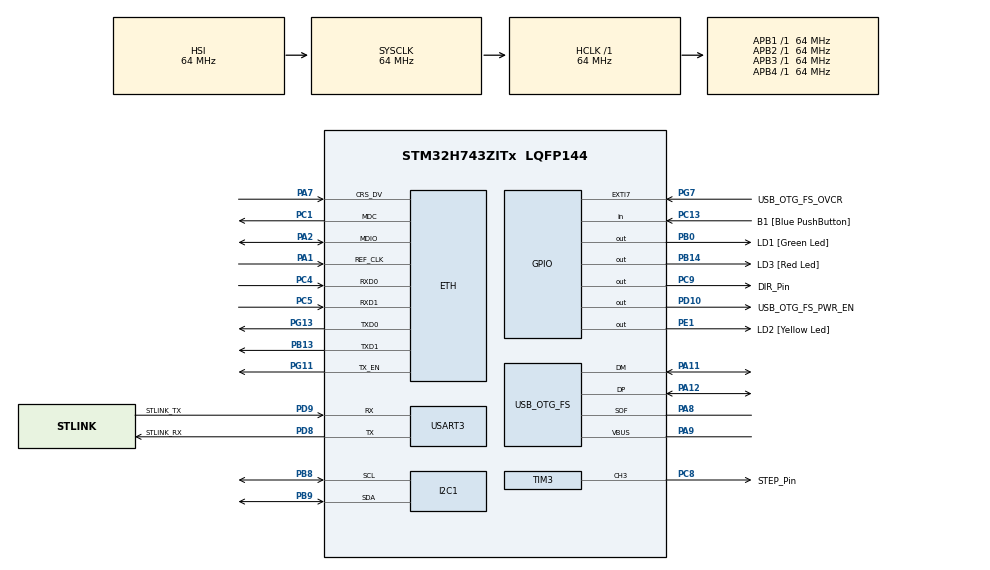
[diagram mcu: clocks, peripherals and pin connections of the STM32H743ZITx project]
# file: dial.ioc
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Mcu.Family=STM32H7
RCC.CortexFreq_Value=64000000
PH0-OSC_IN\ (PH0).Signal=RCC_OSC_IN
PB14.GPIO_Label=LD3 [Red Led]
PC15-OSC32_OUT\ (OSC32_OUT).Mode=LSE-External-Oscillator
RCC.PLLFRACN=0
PA11.Mode=Device_Only
PB0.GPIO_Label=LD1 [Green Led]
PC5.Mode=RMII
PC13.GPIO_Label=B1 [Blue PushButton]
PB13.Signal=ETH_TXD1
PG13.Signal=ETH_TXD0
PD9.Mode=Asynchronous
PG11.Signal=ETH_TX_EN
ProjectManager.StackSize=0x400
USART3.VirtualMode-Asynchronous=VM_ASYNC
PA12.Signal=USB_OTG_FS_DP
RCC.HCLKFreq_Value=64000000
TIM3.Period=468
TIM3.OCMode_PWM-PWM\ Generation3\ CH3=TIM_OCMODE_PWM1
PD8.Signal=USART3_TX
PE1.Signal=GPIO_Output
TIM3.Pulse-PWM\ Generation3\ CH3=40
RCC.HSE_VALUE=8000000
RCC.DIVM1=1
TIM3.Prescaler=63
PA8.Signal=USB_OTG_FS_SOF
PG13.Mode=RMII
RCC.APB3Freq_Value=64000000
TIM3.OCPolarity_3=TIM_OCPOLARITY_HIGH
PB9.Signal=I2C1_SDA
Mcu.Package=LQFP144
PB9.GPIO_PuPd=GPIO_PULLUP
USB_OTG_FS.VirtualMode=Device_Only
PC14-OSC32_IN\ (OSC32_IN).Mode=LSE-External-Oscillator
RCC.APB4Freq_Value=64000000
PC5.Signal=ETH_RXD1
PB13.Mode=RMII
PH0-OSC_IN\ (PH0).Mode=HSE-External-Clock-Source
VP_TIM3_VS_ClockSourceINT.Mode=Internal
PC4.Mode=RMII
RCC.DIVQ1=4
TIM3.CounterMode=TIM_COUNTERMODE_DOWN
PA7.Mode=RMII
PG7.Signal=GPXTI7
PD9.GPIO_Label=STLINK_TX
PC9.GPIO_Label=DIR_Pin
PC13.Signal=GPIO_Input
PC8.Signal=S_TIM3_CH3
PB8.GPIO_PuPd=GPIO_PULLUP
PC4.Signal=ETH_RXD0
PD9.Signal=USART3_RX
SH.S_TIM3_CH3.0=TIM3_CH3,PWM Generation3 CH3
RCC.PWR_Regulator_Voltage_Scale=PWR_REGULATOR_VOLTAGE_SCALE2
PH1-OSC_OUT\ (PH1).Signal=RCC_OSC_OUT
PD8.GPIO_Label=STLINK_RX
PD10.Signal=GPIO_Output
PC8.GPIO_Label=STEP_Pin
TIM3.Channel-PWM\ Generation3\ CH3=TIM_CHANNEL_3
PA9.Mode=Activate_VBUS
ProjectManager.TargetToolchain=STM32CubeIDE
PC15-OSC32_OUT\ (OSC32_OUT).Signal=RCC_OSC32_OUT
PB9.Mode=I2C
PA9.Signal=USB_OTG_FS_VBUS
RCC.DIVN1=24
RCC.USBFreq_Value=48000000
PD10.GPIO_Label=USB_OTG_FS_PWR_EN
PD8.Mode=Asynchronous
PA1.Signal=ETH_REF_CLK
PB14.Signal=GPIO_Output
board=NUCLEO-H743ZI2
PE1.GPIO_Label=LD2 [Yellow Led]
NVIC.TIM3_IRQn=true\:0\:0\:false\:false\:true\:true\:true
RCC.APB2Freq_Value=64000000
PA1.Mode=RMII
PG7.GPIO_Label=USB_OTG_FS_OVCR
RCC.ADCFreq_Value=16125000
Mcu.Name=STM32H743ZITx
PA2.Signal=ETH_MDIO
RCC.SYSCLKFreq_VALUE=64000000
ETH.MediaInterface=HAL_ETH_RMII_MODE
PA12.Mode=Device_Only
PC14-OSC32_IN\ (OSC32_IN).Signal=RCC_OSC32_IN
PG11.Mode=RMII
PA11.Signal=USB_OTG_FS_DM
ProjectManager.HeapSize=0x200
NVIC.PriorityGroup=NVIC_PRIORITYGROUP_4
PB8.Mode=I2C
PA2.Mode=RMII
PB8.Signal=I2C1_SCL
PA8.Mode=Activate_SOF_FS
PC9.Signal=GPIO_Output
TIM3.TIM_MasterOutputTrigger=TIM_TRGO_UPDATE
RCC.APB1Freq_Value=64000000
PB0.Signal=GPIO_Output
PC1.Signal=ETH_MDC
PC1.Mode=RMII
PA7.Signal=ETH_CRS_DV

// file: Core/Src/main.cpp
/* USER CODE BEGIN Header */
/**
 ******************************************************************************
 * @file           : main.c
 * @brief          : Main program body
 ******************************************************************************
 * @attention
 *
 * <h2><center>&copy; Copyright (c) 2021 STMicroelectronics.
 * All rights reserved.</center></h2>
 *
 * This software component is licensed by ST under BSD 3-Clause license,
 * the "License"; You may not use this file except in compliance with the
 * License. You may obtain a copy of the License at:
 *                        opensource.org/licenses/BSD-3-Clause
 *
 ******************************************************************************
 */

/* USER CODE END Header */
#include "main.h"
#include "string.h"

/* USER CODE BEGIN Includes */
#include "Stepper.h"
#include "my_definitions.h"
#include "Dial.h"
#include "Encoder.h"
#include <cstdio>
/* USER CODE END Includes */

/* USER CODE BEGIN PD */
#define DEBUG 1
/* USER CODE END PD */

#if defined ( __ICCARM__ ) /*!< IAR Compiler */

#pragma location=0x30040000
ETH_DMADescTypeDef  DMARxDscrTab[ETH_RX_DESC_CNT]; /* Ethernet Rx DMA Descriptors */
#pragma location=0x30040060
ETH_DMADescTypeDef  DMATxDscrTab[ETH_TX_DESC_CNT]; /* Ethernet Tx DMA Descriptors */
#pragma location=0x30040200
uint8_t Rx_Buff[ETH_RX_DESC_CNT][ETH_MAX_PACKET_SIZE]; /* Ethernet Receive Buffers */

#elif defined ( __CC_ARM )  /* MDK ARM Compiler */

__attribute__((at(0x30040000))) ETH_DMADescTypeDef  DMARxDscrTab[ETH_RX_DESC_CNT]; /* Ethernet Rx DMA Descriptors */
__attribute__((at(0x30040060))) ETH_DMADescTypeDef  DMATxDscrTab[ETH_TX_DESC_CNT]; /* Ethernet Tx DMA Descriptors */
__attribute__((at(0x30040200))) uint8_t Rx_Buff[ETH_RX_DESC_CNT][ETH_MAX_PACKET_SIZE]; /* Ethernet Receive Buffer */

#elif defined ( __GNUC__ ) /* GNU Compiler */

ETH_DMADescTypeDef DMARxDscrTab[ETH_RX_DESC_CNT] __attribute__((section(".RxDecripSection"))); /* Ethernet Rx DMA Descriptors */
ETH_DMADescTypeDef DMATxDscrTab[ETH_TX_DESC_CNT] __attribute__((section(".TxDecripSection"))); /* Ethernet Tx DMA Descriptors */
uint8_t Rx_Buff[ETH_RX_DESC_CNT][ETH_MAX_PACKET_SIZE] __attribute__((section(".RxArraySection"))); /* Ethernet Receive Buffers */

#endif

ETH_TxPacketConfig TxConfig;

ETH_HandleTypeDef heth;

I2C_HandleTypeDef hi2c1;

TIM_HandleTypeDef htim3;

UART_HandleTypeDef huart3;

PCD_HandleTypeDef hpcd_USB_OTG_FS;

void SystemClock_Config(void);
static void MX_GPIO_Init(void);
static void MX_ETH_Init(void);
static void MX_USART3_UART_Init(void);
static void MX_USB_OTG_FS_PCD_Init(void);
static void MX_TIM3_Init(void);
static void MX_I2C1_Init(void);
/* USER CODE BEGIN PFP */
void Move_Stepper(enum Direction dir, int full_turns, int next_number);
void Stop_TIM3(TIM_TypeDef *TIMx);
void Start_TIM3(TIM_TypeDef *TIMx);

/* USER CODE END PFP */

/* USER CODE BEGIN 0 */

std::StepperMotor *Stepper = new std::StepperMotor(TIM3);
std::Dial *Dial = new std::Dial();
std::Encoder *Encoder;

// Character buffers
char msg[100] = { 0 };

/* USER CODE END 0 */

int main(void) {

   /* MCU Configuration--------------------------------------------------------*/

   /* Reset of all peripherals, Initializes the Flash interface and the Systick. */
   HAL_Init();

   /* Configure the system clock */
   SystemClock_Config();

   /* Initialize all configured peripherals */
   MX_GPIO_Init();
   MX_ETH_Init();
   MX_USART3_UART_Init();
   MX_USB_OTG_FS_PCD_Init();
   MX_TIM3_Init();
   MX_I2C1_Init();
   /* USER CODE BEGIN 2 */

   // Timer3 startup
   HAL_TIM_PWM_Start_IT(&htim3, TIM_CHANNEL_3);
   TIM3->CR1 &= ~(TIM_CR1_CEN); // Disable counter

   // Stepper
   int newnum = 90; // Next number to spin the dial to
   enum Direction dir = CW; // Direction of dial rotation.

   // Encoder
   Encoder = new std::Encoder(&hi2c1, AS5600_HYSTERESIS_1LSB);

#if DEBUG ==1
   uint8_t start_message[] = "\r\n\r\n..... Running .....\r\n";
   HAL_UART_Transmit(&huart3, start_message, sizeof(start_message), 10);
#endif

   /* USER CODE END 2 */

   /* Infinite loop */
   /* USER CODE BEGIN WHILE */

   while (1) {

// -------------------------------------------------------------------

// -------------------------------------------------------------------

      // Routine to demo stepper control
      Move_Stepper(dir, 0, newnum);

      if (newnum > 0) {
         newnum -= 10;
      } else {
         newnum = 90;
         if (dir == CCW) {
            dir = CW;
         } else
            (dir = CCW);
      }

      /* USER CODE END WHILE */

      /* USER CODE BEGIN 3 */
   } // End main loop

   /* USER CODE END 3 */
}

void SystemClock_Config(void) {
   RCC_OscInitTypeDef RCC_OscInitStruct = { 0 };
   RCC_ClkInitTypeDef RCC_ClkInitStruct = { 0 };

   /** Supply configuration update enable
    */
   HAL_PWREx_ConfigSupply(PWR_LDO_SUPPLY);
   /** Configure the main internal regulator output voltage
    */
   __HAL_PWR_VOLTAGESCALING_CONFIG(PWR_REGULATOR_VOLTAGE_SCALE2);

   while (!__HAL_PWR_GET_FLAG(PWR_FLAG_VOSRDY)) {
   }
   /** Initializes the RCC Oscillators according to the specified parameters
    * in the RCC_OscInitTypeDef structure.
    */
   RCC_OscInitStruct.OscillatorType = RCC_OSCILLATORTYPE_HSI
         | RCC_OSCILLATORTYPE_HSE;
   RCC_OscInitStruct.HSEState = RCC_HSE_BYPASS;
   RCC_OscInitStruct.HSIState = RCC_HSI_DIV1;
   RCC_OscInitStruct.HSICalibrationValue = RCC_HSICALIBRATION_DEFAULT;
   RCC_OscInitStruct.PLL.PLLState = RCC_PLL_ON;
   RCC_OscInitStruct.PLL.PLLSource = RCC_PLLSOURCE_HSE;
   RCC_OscInitStruct.PLL.PLLM = 1;
   RCC_OscInitStruct.PLL.PLLN = 24;
   RCC_OscInitStruct.PLL.PLLP = 2;
   RCC_OscInitStruct.PLL.PLLQ = 4;
   RCC_OscInitStruct.PLL.PLLR = 2;
   RCC_OscInitStruct.PLL.PLLRGE = RCC_PLL1VCIRANGE_3;
   RCC_OscInitStruct.PLL.PLLVCOSEL = RCC_PLL1VCOWIDE;
   RCC_OscInitStruct.PLL.PLLFRACN = 0;
   if (HAL_RCC_OscConfig(&RCC_OscInitStruct) != HAL_OK) {
      Error_Handler();
   }
   /** Initializes the CPU, AHB and APB buses clocks
    */
   RCC_ClkInitStruct.ClockType = RCC_CLOCKTYPE_HCLK | RCC_CLOCKTYPE_SYSCLK
         | RCC_CLOCKTYPE_PCLK1 | RCC_CLOCKTYPE_PCLK2 | RCC_CLOCKTYPE_D3PCLK1
         | RCC_CLOCKTYPE_D1PCLK1;
   RCC_ClkInitStruct.SYSCLKSource = RCC_SYSCLKSOURCE_HSI;
   RCC_ClkInitStruct.SYSCLKDivider = RCC_SYSCLK_DIV1;
   RCC_ClkInitStruct.AHBCLKDivider = RCC_HCLK_DIV1;
   RCC_ClkInitStruct.APB3CLKDivider = RCC_APB3_DIV1;
   RCC_ClkInitStruct.APB1CLKDivider = RCC_APB1_DIV1;
   RCC_ClkInitStruct.APB2CLKDivider = RCC_APB2_DIV1;
   RCC_ClkInitStruct.APB4CLKDivider = RCC_APB4_DIV1;

   if (HAL_RCC_ClockConfig(&RCC_ClkInitStruct, FLASH_LATENCY_1) != HAL_OK) {
      Error_Handler();
   }
}

static void MX_ETH_Init(void) {

   heth.Instance = ETH;
   heth.Init.MACAddr[0] = 0x00;
   heth.Init.MACAddr[1] = 0x80;
   heth.Init.MACAddr[2] = 0xE1;
   heth.Init.MACAddr[3] = 0x00;
   heth.Init.MACAddr[4] = 0x00;
   heth.Init.MACAddr[5] = 0x00;
   heth.Init.MediaInterface = HAL_ETH_RMII_MODE;
   heth.Init.TxDesc = DMATxDscrTab;
   heth.Init.RxDesc = DMARxDscrTab;
   heth.Init.RxBuffLen = 1524;

   if (HAL_ETH_Init(&heth) != HAL_OK) {
      Error_Handler();
   }

   memset(&TxConfig, 0, sizeof(ETH_TxPacketConfig));
   TxConfig.Attributes = ETH_TX_PACKETS_FEATURES_CSUM
         | ETH_TX_PACKETS_FEATURES_CRCPAD;
   TxConfig.ChecksumCtrl = ETH_CHECKSUM_IPHDR_PAYLOAD_INSERT_PHDR_CALC;
   TxConfig.CRCPadCtrl = ETH_CRC_PAD_INSERT;

}

static void MX_I2C1_Init(void) {

   hi2c1.Instance = I2C1;
   hi2c1.Init.Timing = 0x10707DBC;
   hi2c1.Init.OwnAddress1 = 0;
   hi2c1.Init.AddressingMode = I2C_ADDRESSINGMODE_7BIT;
   hi2c1.Init.DualAddressMode = I2C_DUALADDRESS_DISABLE;
   hi2c1.Init.OwnAddress2 = 0;
   hi2c1.Init.OwnAddress2Masks = I2C_OA2_NOMASK;
   hi2c1.Init.GeneralCallMode = I2C_GENERALCALL_DISABLE;
   hi2c1.Init.NoStretchMode = I2C_NOSTRETCH_DISABLE;
   if (HAL_I2C_Init(&hi2c1) != HAL_OK) {
      Error_Handler();
   }
   /** Configure Analogue filter
    */
   if (HAL_I2CEx_ConfigAnalogFilter(&hi2c1, I2C_ANALOGFILTER_ENABLE)
         != HAL_OK) {
      Error_Handler();
   }
   /** Configure Digital filter
    */
   if (HAL_I2CEx_ConfigDigitalFilter(&hi2c1, 0) != HAL_OK) {
      Error_Handler();
   }

}

static void MX_TIM3_Init(void) {

   TIM_ClockConfigTypeDef sClockSourceConfig = { 0 };
   TIM_MasterConfigTypeDef sMasterConfig = { 0 };
   TIM_OC_InitTypeDef sConfigOC = { 0 };

   /* USER CODE BEGIN TIM3_Init 1 */

// htim3.Init.Period = PWM_PERIOD_US;

   /* USER CODE END TIM3_Init 1 */
   htim3.Instance = TIM3;
   htim3.Init.Prescaler = 63;
   htim3.Init.CounterMode = TIM_COUNTERMODE_DOWN;
   htim3.Init.Period = PWM_PERIOD_US;
   htim3.Init.ClockDivision = TIM_CLOCKDIVISION_DIV1;
   htim3.Init.AutoReloadPreload = TIM_AUTORELOAD_PRELOAD_DISABLE;
   if (HAL_TIM_Base_Init(&htim3) != HAL_OK) {
      Error_Handler();
   }
   sClockSourceConfig.ClockSource = TIM_CLOCKSOURCE_INTERNAL;
   if (HAL_TIM_ConfigClockSource(&htim3, &sClockSourceConfig) != HAL_OK) {
      Error_Handler();
   }
   if (HAL_TIM_PWM_Init(&htim3) != HAL_OK) {
      Error_Handler();
   }
   sMasterConfig.MasterOutputTrigger = TIM_TRGO_UPDATE;
   sMasterConfig.MasterSlaveMode = TIM_MASTERSLAVEMODE_DISABLE;
   if (HAL_TIMEx_MasterConfigSynchronization(&htim3, &sMasterConfig)
         != HAL_OK) {
      Error_Handler();
   }
   sConfigOC.OCMode = TIM_OCMODE_PWM1;
   sConfigOC.Pulse = 40;
   sConfigOC.OCPolarity = TIM_OCPOLARITY_HIGH;
   sConfigOC.OCFastMode = TIM_OCFAST_DISABLE;
   if (HAL_TIM_PWM_ConfigChannel(&htim3, &sConfigOC, TIM_CHANNEL_3) != HAL_OK) {
      Error_Handler();
   }
   HAL_TIM_MspPostInit(&htim3);

}

static void MX_USART3_UART_Init(void) {

   huart3.Instance = USART3;
   huart3.Init.BaudRate = 115200;
   huart3.Init.WordLength = UART_WORDLENGTH_8B;
   huart3.Init.StopBits = UART_STOPBITS_1;
   huart3.Init.Parity = UART_PARITY_NONE;
   huart3.Init.Mode = UART_MODE_TX_RX;
   huart3.Init.HwFlowCtl = UART_HWCONTROL_NONE;
   huart3.Init.OverSampling = UART_OVERSAMPLING_16;
   huart3.Init.OneBitSampling = UART_ONE_BIT_SAMPLE_DISABLE;
   huart3.Init.ClockPrescaler = UART_PRESCALER_DIV1;
   huart3.AdvancedInit.AdvFeatureInit = UART_ADVFEATURE_NO_INIT;
   if (HAL_UART_Init(&huart3) != HAL_OK) {
      Error_Handler();
   }
   if (HAL_UARTEx_SetTxFifoThreshold(&huart3, UART_TXFIFO_THRESHOLD_1_8)
         != HAL_OK) {
      Error_Handler();
   }
   if (HAL_UARTEx_SetRxFifoThreshold(&huart3, UART_RXFIFO_THRESHOLD_1_8)
         != HAL_OK) {
      Error_Handler();
   }
   if (HAL_UARTEx_DisableFifoMode(&huart3) != HAL_OK) {
      Error_Handler();
   }

}

static void MX_USB_OTG_FS_PCD_Init(void) {

   hpcd_USB_OTG_FS.Instance = USB_OTG_FS;
   hpcd_USB_OTG_FS.Init.dev_endpoints = 9;
   hpcd_USB_OTG_FS.Init.speed = PCD_SPEED_FULL;
   hpcd_USB_OTG_FS.Init.dma_enable = DISABLE;
   hpcd_USB_OTG_FS.Init.phy_itface = PCD_PHY_EMBEDDED;
   hpcd_USB_OTG_FS.Init.Sof_enable = ENABLE;
   hpcd_USB_OTG_FS.Init.low_power_enable = DISABLE;
   hpcd_USB_OTG_FS.Init.lpm_enable = DISABLE;
   hpcd_USB_OTG_FS.Init.battery_charging_enable = ENABLE;
   hpcd_USB_OTG_FS.Init.vbus_sensing_enable = ENABLE;
   hpcd_USB_OTG_FS.Init.use_dedicated_ep1 = DISABLE;
   if (HAL_PCD_Init(&hpcd_USB_OTG_FS) != HAL_OK) {
      Error_Handler();
   }

}

static void MX_GPIO_Init(void) {
   GPIO_InitTypeDef GPIO_InitStruct = { 0 };

   /* GPIO Ports Clock Enable */
   __HAL_RCC_GPIOC_CLK_ENABLE();
   __HAL_RCC_GPIOH_CLK_ENABLE();
   __HAL_RCC_GPIOA_CLK_ENABLE();
   __HAL_RCC_GPIOB_CLK_ENABLE();
   __HAL_RCC_GPIOD_CLK_ENABLE();
   __HAL_RCC_GPIOG_CLK_ENABLE();
   __HAL_RCC_GPIOE_CLK_ENABLE();

   /*Configure GPIO pin Output Level */
   HAL_GPIO_WritePin(GPIOB, LD1_Pin | LD3_Pin, GPIO_PIN_RESET);

   /*Configure GPIO pin Output Level */
   HAL_GPIO_WritePin(USB_OTG_FS_PWR_EN_GPIO_Port, USB_OTG_FS_PWR_EN_Pin,
         GPIO_PIN_RESET);

   /*Configure GPIO pin Output Level */
   HAL_GPIO_WritePin(DIR_Pin_GPIO_Port, DIR_Pin_Pin, GPIO_PIN_RESET);

   /*Configure GPIO pin Output Level */
   HAL_GPIO_WritePin(LD2_GPIO_Port, LD2_Pin, GPIO_PIN_RESET);

   /*Configure GPIO pin : B1_Pin */
   GPIO_InitStruct.Pin = B1_Pin;
   GPIO_InitStruct.Mode = GPIO_MODE_INPUT;
   GPIO_InitStruct.Pull = GPIO_NOPULL;
   HAL_GPIO_Init(B1_GPIO_Port, &GPIO_InitStruct);

   /*Configure GPIO pins : LD1_Pin LD3_Pin */
   GPIO_InitStruct.Pin = LD1_Pin | LD3_Pin;
   GPIO_InitStruct.Mode = GPIO_MODE_OUTPUT_PP;
   GPIO_InitStruct.Pull = GPIO_NOPULL;
   GPIO_InitStruct.Speed = GPIO_SPEED_FREQ_LOW;
   HAL_GPIO_Init(GPIOB, &GPIO_InitStruct);

   /*Configure GPIO pin : USB_OTG_FS_PWR_EN_Pin */
   GPIO_InitStruct.Pin = USB_OTG_FS_PWR_EN_Pin;
   GPIO_InitStruct.Mode = GPIO_MODE_OUTPUT_PP;
   GPIO_InitStruct.Pull = GPIO_NOPULL;
   GPIO_InitStruct.Speed = GPIO_SPEED_FREQ_LOW;
   HAL_GPIO_Init(USB_OTG_FS_PWR_EN_GPIO_Port, &GPIO_InitStruct);

   /*Configure GPIO pin : USB_OTG_FS_OVCR_Pin */
   GPIO_InitStruct.Pin = USB_OTG_FS_OVCR_Pin;
   GPIO_InitStruct.Mode = GPIO_MODE_IT_RISING;
   GPIO_InitStruct.Pull = GPIO_NOPULL;
   HAL_GPIO_Init(USB_OTG_FS_OVCR_GPIO_Port, &GPIO_InitStruct);

   /*Configure GPIO pin : DIR_Pin_Pin */
   GPIO_InitStruct.Pin = DIR_Pin_Pin;
   GPIO_InitStruct.Mode = GPIO_MODE_OUTPUT_PP;
   GPIO_InitStruct.Pull = GPIO_NOPULL;
   GPIO_InitStruct.Speed = GPIO_SPEED_FREQ_LOW;
   HAL_GPIO_Init(DIR_Pin_GPIO_Port, &GPIO_InitStruct);

   /*Configure GPIO pin : LD2_Pin */
   GPIO_InitStruct.Pin = LD2_Pin;
   GPIO_InitStruct.Mode = GPIO_MODE_OUTPUT_PP;
   GPIO_InitStruct.Pull = GPIO_NOPULL;
   GPIO_InitStruct.Speed = GPIO_SPEED_FREQ_LOW;
   HAL_GPIO_Init(LD2_GPIO_Port, &GPIO_InitStruct);

}

/* USER CODE BEGIN 4 */

void Stop_Timer(TIM_TypeDef *TIMx) {
   TIMx->CR1 &= ~(TIM_CR1_CEN);
}
void Start_Timer(TIM_TypeDef *TIMx) {
   TIMx->CR1 |= TIM_CR1_CEN;
}
void HAL_TIM_PWM_PulseFinishedCallback(TIM_HandleTypeDef *htim) {
   // Interrupt service routine for TIMER3
   // Counts pulses until the desired number have been sent
   // Then it disables the timer to end the output.

   // !! Only works now because TIM3 is the only PWM timer.
   // !! The complete solution is to check TIM status bits to see
   // !! who issued the interrupt.

   Stop_Timer(TIM3); // Freeze counter at zero

   Stepper->UpdateStep();
   if (Stepper->MoveComplete()) {
      Stepper->Stop();
   } else {
      // TODO acceleration stuff here
      Start_Timer(TIM3); // Keep counting
   }

}

void Move_Stepper(enum Direction dir, int full_turns, int next_number) {
   /** Function to move the stepper. Tell it the direction of rotation,
    * the number of complete revolutions to add, and the final number to land on.
    *
    * This function calculates the number of steps required to reach the final
    * position, sends the pulses, and waits for the stepper to finish moving.
    *
    * Then it compares the position measured from the Hall Effect sensor to
    * the position given by the move command. If they match, then the dial's position
    * is updated. If they don't match, then we have an error or an open state.
    */

   int numsteps = Dial->CalculateSteps(dir, full_turns, next_number);
   Stepper->Move(numsteps, dir);
   while (Stepper->Status() == Running) {
   } // Wait for move to finish
   HAL_Delay(DELAY_MS); // Brief delay after move to allow mechanical settling.

   // Get actual location from AS5600
   float encoder_location = Encoder->GetLocation();
   float position_error;

   // Get difference between expected and actual locations
   // Detect overshoots and undershoots that straddle zero.
   //
   // CW:  Counting down
   // CCW: Counting up
   //
   // Dir | Condition | next_number | encoder_location | Error
   //
   // CW  | Over      |   1         |  99              |  -98
   // CW  | Under     |  99         |   1              |  +98
   // CW  | Over  *   |  10         |   8              |   +2
   // CW  | Under *   |  10         |  12              |   -2
   //
   // CCW | Over      |  99         |   1              |  +98
   // CCW | Under     |   1         |  99              |  -98
   // CCW | Over  *   |  10         |  12              |   -2
   // CCW | Under *   |  10         |   8              |   +2
   position_error = next_number - encoder_location;
   if (dir == CCW){
      position_error *= -1; // Flip sign for CCW. Want overshoot should be > 0.
   }
   if (abs(position_error) > 50) { // Error straddles zero
      if (position_error < 0){
         position_error += 100;
      } else {
         position_error -= 100;
      }
   }
   sprintf(msg, "Target: %02d  Actual: %f  Error: %f\r\n", next_number, encoder_location, position_error);
   HAL_UART_Transmit(&huart3, (uint8_t*) msg, strlen((char*) msg), 10);

   // Update dial location.
   if (abs(position_error) < 0.5) { // Expected and measured are in agreement.
      Dial->UpdatePosition(encoder_location); // Record error so it doesn't snowball.
   } else {
      // TODO if testing for open, then do happy dance. Else error.
      uint8_t error_message[] = "\r\nError: Position error too great.\r\n";
      HAL_UART_Transmit(&huart3, error_message, sizeof(error_message), 10);
      //Error_Handler();
   }

}

//

/* USER CODE END 4 */

void Error_Handler(void) {
   /* USER CODE BEGIN Error_Handler_Debug */
   /* User can add his own implementation to report the HAL error return state */
   __disable_irq();
   uint8_t error_message[] = "\r\n\r\n!!!!!!!!!! Unhandled exception !!!!!!!!!!\r\n";
   HAL_UART_Transmit(&huart3, error_message, sizeof(error_message), 10);
   while (1) {
   }
   /* USER CODE END Error_Handler_Debug */
}

/************************ (C) COPYRIGHT STMicroelectronics *****END OF FILE****/
